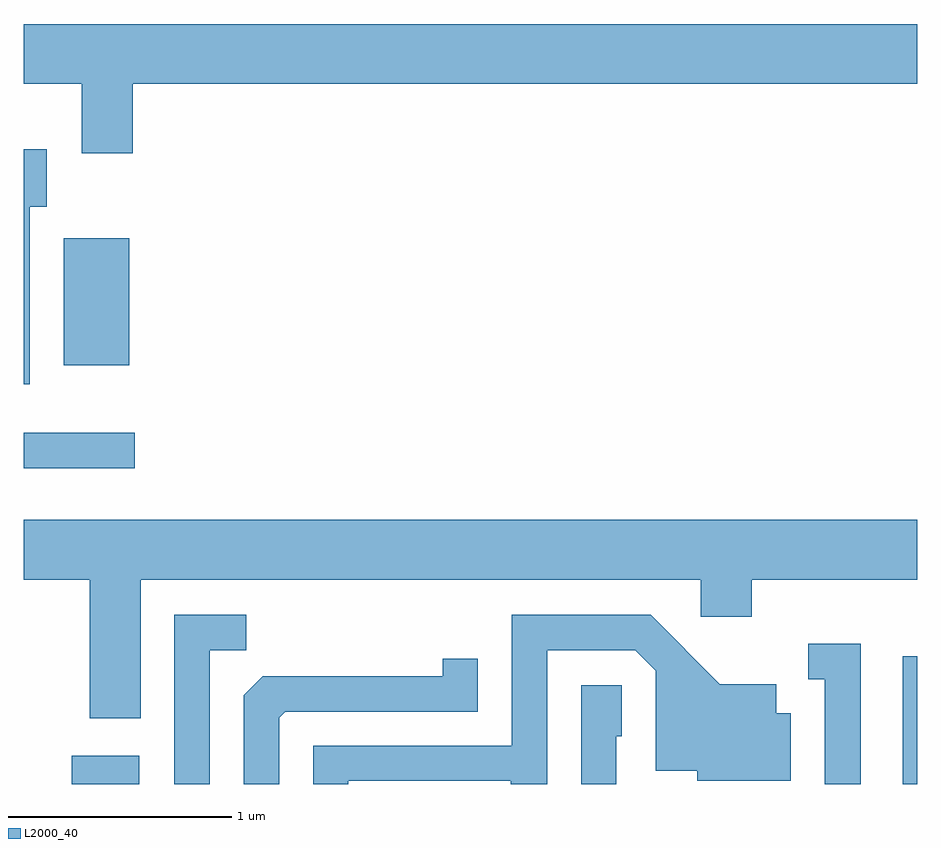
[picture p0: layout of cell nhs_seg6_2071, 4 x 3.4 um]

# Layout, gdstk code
import gdstk
lib = gdstk.Library(unit=1e-6, precision=1e-09)
def R(c, l, rs):  # rectangles x0, y0, x1, y1
    for r in rs: c.add(gdstk.rectangle(r[:2], r[2:], *l))
def P(c, l, *ps):  # polygons
    for p in ps: c.add(gdstk.Polygon(p, *l))
L2000_40 = (2000, 40)

nhs_seg6_2071 = lib.new_cell('nhs_seg6_2071')
R(nhs_seg6_2071, L2000_40, [(247.826,1620.162,248.129,1620.289), (251.546,1620.162,251.611,1620.734), (247.611,1621.576,248.108,1621.734), (247.791,1622.036,248.084,1622.604)])
P(nhs_seg6_2071, L2000_40, [(248.099,1623.296),(251.611,1623.296),(251.611,1623.564),(247.611,1623.564),(247.611,1623.296),(247.871,1623.296),(247.871,1622.986),(248.099,1622.986)],
  [(247.639,1622.746),(247.714,1622.746),(247.714,1623.004),(247.611,1623.004),(247.611,1621.951),(247.639,1621.951)],
  [(248.134,1621.076),(250.641,1621.076),(250.641,1620.911),(250.869,1620.911),(250.869,1621.076),(251.611,1621.076),(251.611,1621.344),(247.611,1621.344),(247.611,1621.076),(247.906,1621.076),(247.906,1620.456),(248.134,1620.456)],
  [(248.444,1620.761),(248.608,1620.761),(248.608,1620.919),(248.286,1620.919),(248.286,1620.162),(248.444,1620.162)],
  [(249.064,1620.176),(249.791,1620.176),(249.791,1620.162),(249.954,1620.162),(249.954,1620.761),(250.349,1620.761),(250.441,1620.669),(250.441,1620.221),(250.626,1620.221),(250.626,1620.176),(251.044,1620.176),(251.044,1620.479),(250.979,1620.479),(250.979,1620.609),(250.727,1620.609),(250.417,1620.919),(249.796,1620.919),(249.796,1620.334),(248.906,1620.334),(248.906,1620.162),(249.064,1620.162)],
  [(251.359,1620.789),(251.123,1620.789),(251.123,1620.631),(251.196,1620.631),(251.196,1620.162),(251.359,1620.162)],
  [(248.754,1620.459),(248.782,1620.486),(249.644,1620.486),(249.644,1620.723),(249.486,1620.723),(249.486,1620.644),(248.682,1620.644),(248.596,1620.559),(248.596,1620.162),(248.754,1620.162)],
  [(250.264,1620.376),(250.289,1620.376),(250.289,1620.604),(250.106,1620.604),(250.106,1620.162),(250.264,1620.162)])

lib.write_gds('nhs_seg6_2071.gds')
